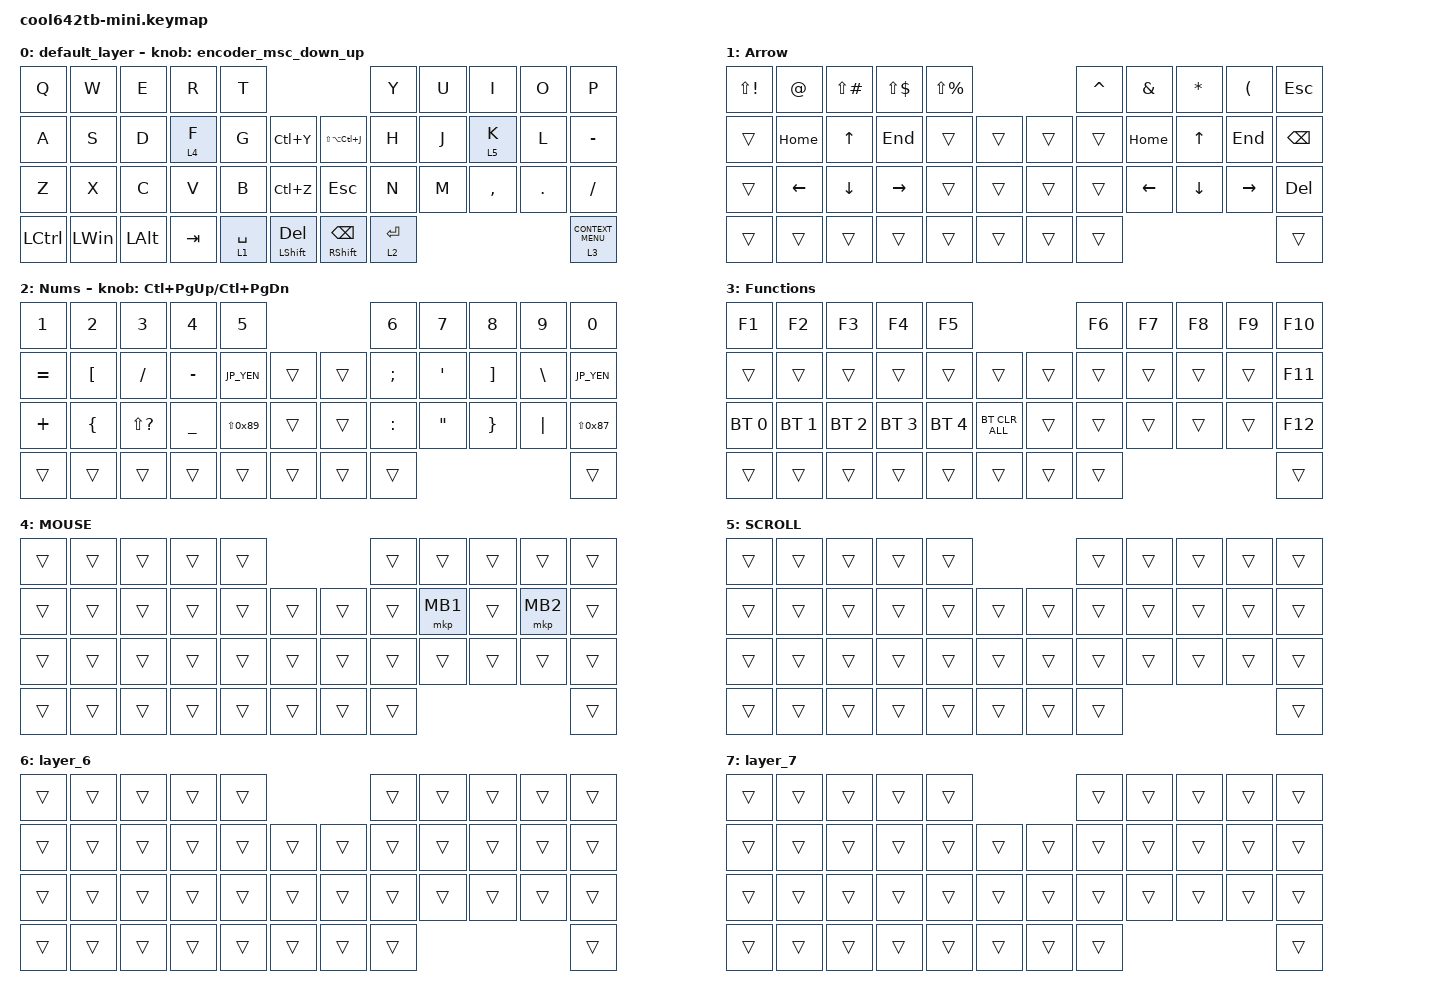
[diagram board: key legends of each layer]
#include <behaviors.dtsi>
#include <dt-bindings/zmk/bt.h>
#include <dt-bindings/zmk/keys.h>
#include <dt-bindings/zmk/pointing.h>

#define MOUSE 4
#define SCROLL 5
#define NUM 6
#define ZMK_POINTING_DEFAULT_SCRL_VAL 80
#define JP_DQUOTE       AT                // "
#define JP_AMPERSAND    CARET             // &
#define JP_QUOTE        AMPERSAND         // '
#define JP_EQUAL        UNDER             // =
#define JP_CARET        EQUAL             // ^
#define JP_YEN          0x89              // ¥
#define JP_PLUS         COLON             // +
#define JP_TILDE        PLUS              // ~
#define JP_PIPE         LS(0x89)          // |
#define JP_AT           LEFT_BRACKET      // @
#define JP_COLON        SINGLE_QUOTE      // :
#define JP_ASTERISK     DOUBLE_QUOTES     // *
#define JP_BACKQUOTE    LEFT_BRACE        // `
#define JP_UNDERSCORE   LS(0x87)          // _
#define JP_LBRACKET     RIGHT_BRACKET     // [
#define JP_RBRACKET     BACKSLASH         // ]
#define JP_LPAREN       ASTERISK          // (
#define JP_RPAREN       LEFT_PARENTHESIS  // )
#define JP_LBRACE       RIGHT_BRACE       // {
#define JP_RBRACE       PIPE              // }
#define JP_KANA         LANGUAGE_1        // かな
#define JP_EISU         LANGUAGE_2        // 英数
#define JP_HANZEN       GRAVE             // 半角/全角

&mt {
    flavor = "balanced";
    quick-tap-ms = <0>;
};

/ {
    combos {
        compatible = "zmk,combos";

        shift_tab {
            bindings = <&kp LANG2>;
            key-positions = <12 13>;
        };

        lang {
            bindings = <&kp LANG1>;
            key-positions = <18 19>;
        };
    };

    behaviors {
        encoder_msc_down_up: encoder_msc_down_up {
            compatible = "zmk,behavior-sensor-rotate";
            label = "ENCODER_MSC_DOWN_UP";
            #sensor-binding-cells = <0>;
            bindings = <&msc SCRL_UP>, <&msc SCRL_DOWN>;

            tap-ms = <20>;
        };

        // 【Mod-Tap用】ホールドでMod(Shift等)、タップでキー、リピート許可

        hr: hold_tap_repeat {
            compatible = "zmk,behavior-hold-tap";
            #binding-cells = <2>;
            flavor = "hold-preferred";
            tapping-term-ms = <200>;
            quick-tap-ms = <200>;
            bindings = <&kp>, <&kp>;
        };

        // 【Layer-Tap用】ホールドでLayer、タップでキー、リピート許可

        lr: layer_tap_repeat {
            compatible = "zmk,behavior-hold-tap";
            #binding-cells = <2>;
            flavor = "hold-preferred";
            tapping-term-ms = <200>;
            quick-tap-ms = <200>;
            bindings = <&mo>, <&kp>;
        };
    };

    keymap {
        compatible = "zmk,keymap";

        default_layer {
            bindings = <
&kp Q      &kp W         &kp E         &kp R    &kp T                                                    &kp Y        &kp U  &kp I      &kp O    &kp P
&kp A      &kp S         &kp D         &lt 4 F  &kp G        &kp LC(Y)              &kp LS(LA(LC(J)))    &kp H        &kp J  &lt 5 K    &kp L    &kp MINUS
&kp Z      &kp X         &kp C         &kp V    &kp B        &kp LC(Z)              &kp ESC              &kp N        &kp M  &kp COMMA  &kp DOT  &kp SLASH
&kp LCTRL  &kp LEFT_WIN  &kp LEFT_ALT  &kp TAB  &lr 1 SPACE  &hr LSHIFT DELETE      &hr RSHFT BACKSPACE  &lr 2 ENTER                             &lr 3 K_CONTEXT_MENU
            >;

            sensor-bindings = <&encoder_msc_down_up>;
        };

        Arrow {
            bindings = <
&kp LS(EXCL)  &kp JP_DQUOTE  &kp LS(POUND)  &kp LS(DLLR)  &kp LS(PRCNT)                      &kp JP_AMPERSAND  &kp JP_QUOTE  &kp JP_LPAREN  &kp JP_RPAREN  &kp ESC
&trans        &kp HOME       &kp UP         &kp END       &trans         &trans      &trans  &trans            &kp HOME      &kp UP         &kp END        &kp BSPC
&trans        &kp LEFT       &kp DOWN       &kp RIGHT     &trans         &trans      &trans  &trans            &kp LEFT      &kp DOWN       &kp RIGHT      &kp DEL
&trans        &trans         &trans         &trans        &trans         &trans      &trans  &trans                                                        &trans
            >;
        };

        Nums {
            bindings = <
&kp N1        &kp N2            &kp N3         &kp N4        &kp N5                           &kp N6       &kp N7           &kp N8           &kp N9           &kp N0
&kp JP_CARET  &kp JP_AT         &kp FSLH       &kp MINUS     &kp JP_YEN   &trans      &trans  &kp SEMI     &kp JP_COLON     &kp JP_LBRACKET  &kp JP_RBRACKET  &kp JP_YEN
&kp JP_TILDE  &kp JP_BACKQUOTE  &kp LS(QMARK)  &kp JP_EQUAL  &kp JP_PIPE  &trans      &trans  &kp JP_PLUS  &kp JP_ASTERISK  &kp JP_LBRACE    &kp JP_RBRACE    &kp JP_UNDERSCORE
&trans        &trans            &trans         &trans        &trans       &trans      &trans  &trans                                                          &trans
            >;

            sensor-bindings = <&inc_dec_kp LC(PAGE_UP) LC(PAGE_DOWN)>;
        };

        Functions {
            bindings = <
&kp F1        &kp F2        &kp F3        &kp F4        &kp F5                                    &kp F6  &kp F7  &kp F8  &kp F9  &kp F10
&trans        &trans        &trans        &trans        &trans        &trans              &trans  &trans  &trans  &trans  &trans  &kp F11
&bt BT_SEL 0  &bt BT_SEL 1  &bt BT_SEL 2  &bt BT_SEL 3  &bt BT_SEL 4  &bt BT_CLR_ALL      &trans  &trans  &trans  &trans  &trans  &kp F12
&trans        &trans        &trans        &trans        &trans        &trans              &trans  &trans                          &trans
            >;
        };

        MOUSE {
            bindings = <
&trans  &trans  &trans  &trans  &trans                      &trans  &trans    &trans  &trans    &trans
&trans  &trans  &trans  &trans  &trans  &trans      &trans  &trans  &mkp MB1  &trans  &mkp MB2  &trans
&trans  &trans  &trans  &trans  &trans  &trans      &trans  &trans  &trans    &trans  &trans    &trans
&trans  &trans  &trans  &trans  &trans  &trans      &trans  &trans                              &trans
            >;
        };

        SCROLL {
            bindings = <
&trans  &trans  &trans  &trans  &trans                      &trans  &trans  &trans  &trans  &trans
&trans  &trans  &trans  &trans  &trans  &trans      &trans  &trans  &trans  &trans  &trans  &trans
&trans  &trans  &trans  &trans  &trans  &trans      &trans  &trans  &trans  &trans  &trans  &trans
&trans  &trans  &trans  &trans  &trans  &trans      &trans  &trans                          &trans
            >;
        };

        layer_6 {
            bindings = <
&trans  &trans  &trans  &trans  &trans                      &trans  &trans  &trans  &trans  &trans
&trans  &trans  &trans  &trans  &trans  &trans      &trans  &trans  &trans  &trans  &trans  &trans
&trans  &trans  &trans  &trans  &trans  &trans      &trans  &trans  &trans  &trans  &trans  &trans
&trans  &trans  &trans  &trans  &trans  &trans      &trans  &trans                          &trans
            >;
        };

        layer_7 {
            bindings = <
&trans  &trans  &trans  &trans  &trans                      &trans  &trans  &trans  &trans  &trans
&trans  &trans  &trans  &trans  &trans  &trans      &trans  &trans  &trans  &trans  &trans  &trans
&trans  &trans  &trans  &trans  &trans  &trans      &trans  &trans  &trans  &trans  &trans  &trans
&trans  &trans  &trans  &trans  &trans  &trans      &trans  &trans                          &trans
            >;
        };
    };
};
